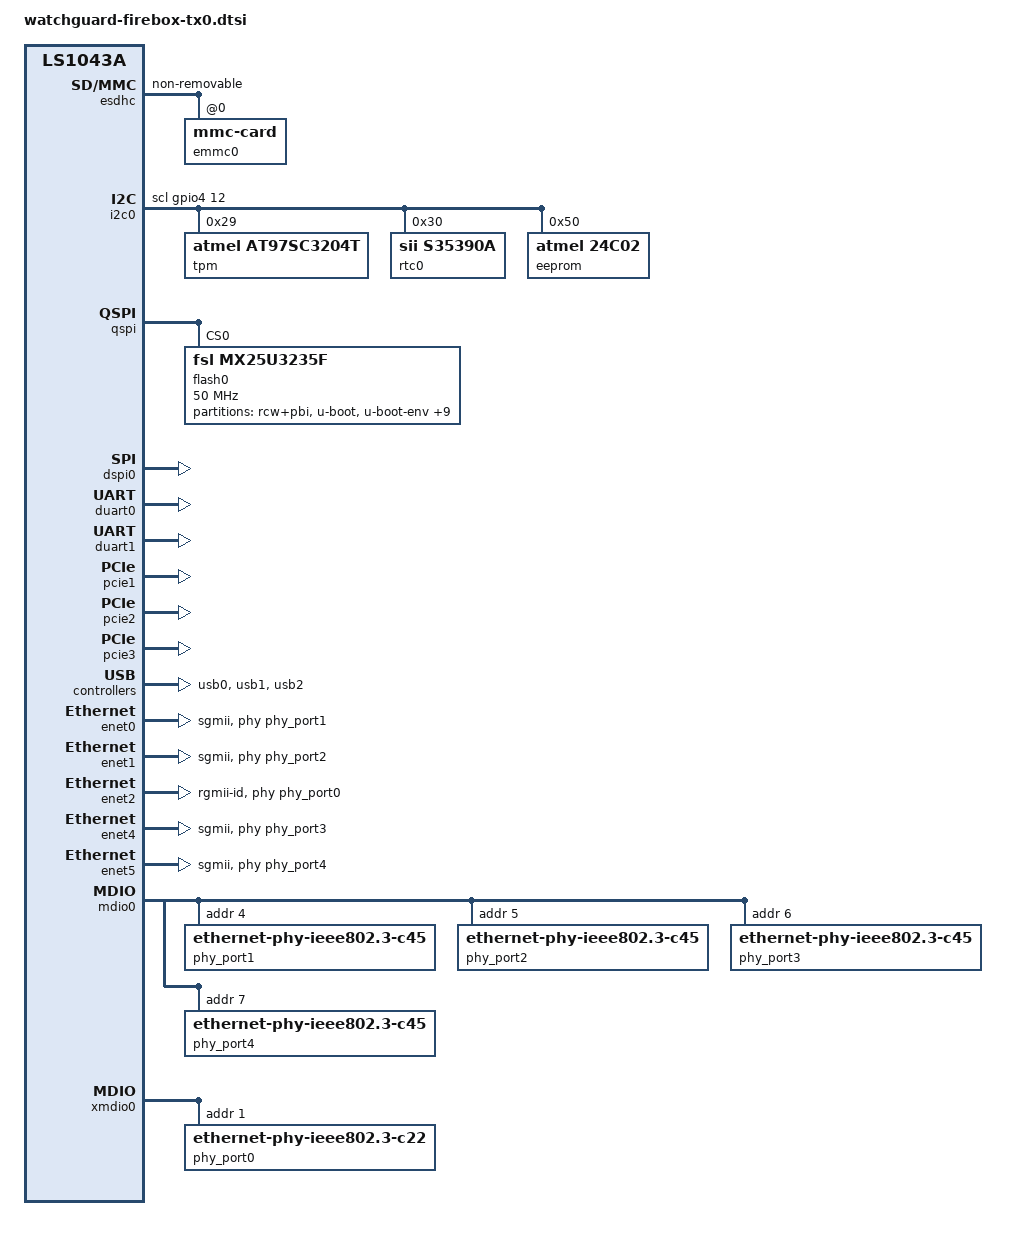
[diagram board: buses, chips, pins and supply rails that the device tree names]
// SPDX-License-Identifier: (GPL-2.0+ OR MIT)

/dts-v1/;
#include "fsl-ls1043a.dtsi"
#include <dt-bindings/gpio/gpio.h>
#include <dt-bindings/input/input.h>

/ {
	aliases {
		crypto = &crypto;
		serial0 = &duart0;
		serial1 = &duart1;
		serial2 = &duart2;
		serial3 = &duart3;
		ethernet0 = &enet2;
		ethernet1 = &enet0;
		ethernet2 = &enet1;
		ethernet3 = &enet4;
		ethernet4 = &enet5;
	};

	chosen {
		stdout-path = "serial0:115200n8";
	};

	leds {
		compatible = "gpio-leds";
		status = "disabled";
	};

	keys {
		compatible = "gpio-keys-polled";
		#address-cells = <1>;
		#size-cells = <0>;
		poll-interval = <1000>;
		status = "disabled";
	};

};

&esdhc {
	#address-cells = <1>;
	#size-cells = <0>;
	mmc-ddr-1_8v;
	mmc-hs200-1_8v;
	mmc-hs400-1_8v;
	non-removable;
	no-sd;
	no-sdio;

	emmc0: mmccard@0 {
		reg = <0>;
		compatible = "mmc-card";
	};
};

&i2c0 {
	status = "okay";
	scl-gpios = <&gpio4 12 GPIO_ACTIVE_HIGH>;

	tpm@29 {
		reg = <0x29>;
		label = "tpm";
		compatible = "atmel,at97sc3204t";
	};

	rtc0: rtc@30 {
		reg = <0x30>;
		compatible = "sii,s35390a";
	};

	eeprom: eeprom@50 {
		reg = <0x50>;
		compatible = "atmel,24c02";
		pagesize = <1>;
	};
};

&qspi {
	status = "okay";
	bus-num = <0>;

	flash0: flash@0 {
		#address-cells = <1>;
		#size-cells = <1>;
		compatible = "fsl,mx25u3235f", "jedec,spi-nor";
		reg = <0>;
		spi-max-frequency = <50000000>;
		spi-rx-bus-width = <4>;
		spi-tx-bus-width = <4>;
		m25p,fast-read;
		mode = <0>;

		partitions {
			compatible = "fixed-partitions";
			#address-cells = <1>;
			#size-cells = <1>;

			partition@0 {
				reg = <0x00 0x100000>;
				label = "rcw+pbi";
				read-only;
			};

			partition@100000 {
				reg = <0x100000 0x100000>;
				label = "u-boot";
				read-only;
			};

			partition@200000 {
				reg = <0x200000 0x10000>;
				label = "u-boot-env";
			};

			partition@210000 {
				reg = <0x210000 0x10000>;
				label = "empty-1";
				read-only;
			};

			partition@220000 {
				reg = <0x220000 0x20000>;
				label = "fman-ucode";
				read-only;
			};

			partition@240000 {
				reg = <0x240000 0x40000>;
				label = "empty-2-ppa";
				read-only;
			};

			partition@280000 {
				reg = <0x280000 0x20000>;
				label = "wg-cfg0";
				read-only;
			};

			partition@2a0000 {
				reg = <0x2a0000 0x20000>;
				label = "wg-cfg1";
				read-only;
			};

			partition@2c0000 {
				reg = <0x2c0000 0x20000>;
				label = "wg-mfg";
				read-only;
			};

			partition@2e0000 {
				reg = <0x2e0000 0x20000>;
				label = "empty-3";
				read-only;
			};

			partition@300000 {
				reg = <0x300000 0x20000>;
				label = "fman-ucode-old";
				read-only;
			};

			partition@320000 {
				reg = <0x320000 0xe0000>;
				label = "wg-bootopt";
				read-only;
			};
		};
	};
};

&dspi0 {
	status = "okay";
	bus-num = <0>;
};

&duart0 {
	status = "okay";
};

&duart1 {
	status = "okay";
};

&pcie1 {
	status = "okay";
};

&pcie2 {
	status = "okay";
};

&pcie3 {
	status = "okay";
};

&usb0 {
	status = "okay";
};

&usb1 {
	status = "okay";
};

&usb2 {
	status = "okay";
};

&tmu {
	/* Non-standard TMU calibration, from OEM devicetree */
	fsl,tmu-calibration = <0x00000000 0x00000023
			       0x00000001 0x0000002a
			       0x00000002 0x00000031
			       0x00000003 0x00000037
			       0x00000004 0x0000003e
			       0x00000005 0x00000044
			       0x00000006 0x0000004b
			       0x00000007 0x00000051
			       0x00000008 0x00000058
			       0x00000009 0x0000005e
			       0x0000000a 0x00000065
			       0x0000000b 0x0000006b

			       0x00010000 0x00000023
			       0x00010001 0x0000002b
			       0x00010002 0x00000033
			       0x00010003 0x0000003b
			       0x00010004 0x00000043
			       0x00010005 0x0000004b
			       0x00010006 0x00000054
			       0x00010007 0x0000005c
			       0x00010008 0x00000064
			       0x00010009 0x0000006c

			       0x00020000 0x00000021
			       0x00020001 0x0000002c
			       0x00020002 0x00000036
			       0x00020003 0x00000040
			       0x00020004 0x0000004b
			       0x00020005 0x00000055
			       0x00020006 0x0000005f
			       0x00030000 0x00000013
			       0x00030001 0x0000001d
			       0x00030002 0x00000028
			       0x00030003 0x00000032>;
};

/* Add ethernet/FMAN nodes */
#include "fsl-ls1043-post.dtsi"

&enet0 {
	phy-handle = <&phy_port1>;
	phy-mode = "sgmii";
};

&enet1 {
	phy-handle = <&phy_port2>;
	phy-mode = "sgmii";
};

&enet2 {
	phy-handle = <&phy_port0>;
	phy-connection-type = "rgmii-id";
};

&enet3 {
	status = "disabled"; // Not used on this platform
};

&enet4 {
	phy-handle = <&phy_port3>;
	phy-mode = "sgmii";
};

&enet5 {
	phy-handle = <&phy_port4>;
	phy-mode = "sgmii";
};

&enet6 {
	status = "disabled"; // Not used on this platform
};

&mdio0 {
	/* Marvell Alaska 88E1543 quad-port SGMII PHY */
	phy_port1: ethernet-phy@4 {
		compatible = "ethernet-phy-ieee802.3-c45";
		reg = <4>;
	};

	phy_port2: ethernet-phy@5 {
		compatible = "ethernet-phy-ieee802.3-c45";
		reg = <5>;
	};

	phy_port3: ethernet-phy@6 {
		compatible = "ethernet-phy-ieee802.3-c45";
		reg = <6>;
	};

	phy_port4: ethernet-phy@7 {
		compatible ="ethernet-phy-ieee802.3-c45";
		reg = <7>;
	};
};

&xmdio0 {
	/* Qualcomm Atheros AR8035 */
	phy_port0: ethernet-phy@1 {
		compatible = "ethernet-phy-ieee802.3-c22";
		reg = <1>;
	};
};
